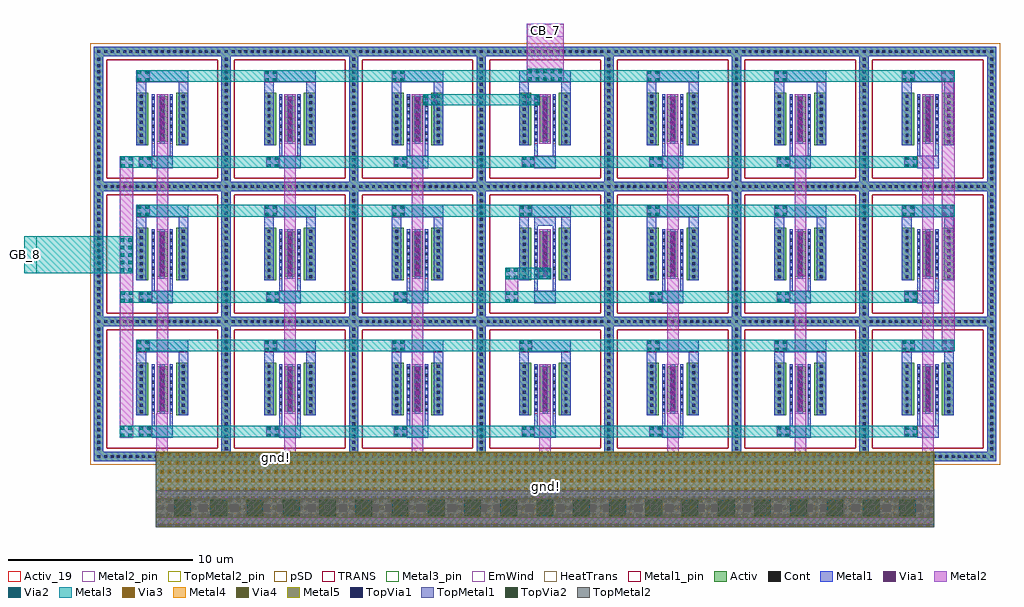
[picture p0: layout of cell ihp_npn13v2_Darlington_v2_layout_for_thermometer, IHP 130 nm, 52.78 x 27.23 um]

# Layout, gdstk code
from math import pi, radians
import gdstk
lib = gdstk.Library(unit=1e-6, precision=1e-09)
def R(c, l, rs):  # rectangles x0, y0, x1, y1
    for r in rs: c.add(gdstk.rectangle(r[:2], r[2:], *l))
def A(c, l, x, y, w, h, nx, ny, dx, dy):  # array of equal rectangles
    R(c, l, [(x+i*dx, y+j*dy, x+i*dx+w, y+j*dy+h) for i in range(nx) for j in range(ny)])
def P(c, l, *ps):  # polygons
    for p in ps: c.add(gdstk.Polygon(p, *l))
Activ = (1, 0)
Activ_19 = (1, 19)
Cont = (6, 0)
Metal1 = (8, 0)
Metal1_pin = (8, 2)
Metal2 = (10, 0)
Metal2_pin = (10, 2)
pSD = (14, 0)
Via1 = (19, 0)
TRANS = (26, 0)
Via2 = (29, 0)
Metal3 = (30, 0)
Metal3_pin = (30, 2)
EmWind = (33, 0)
Via3 = (49, 0)
Metal4 = (50, 0)
HeatTrans = (51, 0)
Via4 = (66, 0)
Metal5 = (67, 0)
TopVia1 = (125, 0)
TopMetal1 = (126, 0)
TopVia2 = (133, 0)
TopMetal2 = (134, 0)
TopMetal2_pin = (134, 2)

npn13v2_cdns_72071683367 = lib.new_cell('npn13v2_CDNS_720716833670')
R(npn13v2_cdns_72071683367, Activ, [(-1.4,-1.42,-0.75,1.42), (0.75,-1.42,1.4,1.42), (-0.29,-1.23,0.29,1.23)])
P(npn13v2_cdns_72071683367, Activ, [(3.7,3.9),(3.2,3.9),(3.2,-3.4),(-3.2,-3.4),(-3.2,3.4),(3.2,3.4),(3.2,3.9),(-3.7,3.9),(-3.7,-3.9),(3.7,-3.9)])
R(npn13v2_cdns_72071683367, Activ_19, [(-0.575,-1.35,-0.405,1.35), (-0.14,-1.35,0.14,1.35), (0.405,-1.35,0.575,1.35)])
A(npn13v2_cdns_72071683367, Cont, -1.21, -1.305, 0.16, 0.16, 1, 8, 0, 0.35)
A(npn13v2_cdns_72071683367, Cont, 1.05, -1.305, 0.16, 0.16, 1, 8, 0, 0.35)
A(npn13v2_cdns_72071683367, Cont, -0.57, -0.84, 0.16, 0.16, 1, 3, 0, 0.38)
A(npn13v2_cdns_72071683367, Cont, 0.41, -0.84, 0.16, 0.16, 1, 3, 0, 0.38)
A(npn13v2_cdns_72071683367, Cont, -0.57, 0.295, 0.16, 0.16, 1, 3, 0, 0.38)
A(npn13v2_cdns_72071683367, Cont, 0.41, 0.295, 0.16, 0.16, 1, 3, 0, 0.38)
R(npn13v2_cdns_72071683367, Cont, [(-0.57,-1.215,-0.41,-1.055), (0.41,-1.215,0.57,-1.055), (-0.08,-1.06,0.08,1.06)])
R(npn13v2_cdns_72071683367, Metal1, [(-0.14,-1.35,0.14,1.35)])
P(npn13v2_cdns_72071683367, Metal1, [(0.575,1.35),(0.405,1.35),(0.405,-2),(-0.405,-2),(-0.405,1.35),(-0.575,1.35),(-0.575,-2.65),(0.575,-2.65)],
  [(1.4,2.65),(-1.4,2.65),(-1.4,-1.42),(-0.88,-1.42),(-0.88,2),(0.88,2),(0.88,-1.42),(1.4,-1.42)])
R(npn13v2_cdns_72071683367, Metal1_pin, [(-0.575,-2.65,0.575,-2), (-1.4,2,1.4,2.65)])
R(npn13v2_cdns_72071683367, Metal2, [(-0.31,-1.35,0.31,1.35)])
R(npn13v2_cdns_72071683367, Metal2_pin, [(-0.31,-1.35,0.31,1.35)])
P(npn13v2_cdns_72071683367, pSD, [(-3.9,-4.1),(3.9,-4.1),(3.9,4.1),(-3.9,4.1),(-3.9,-3.2),(-3,-3.2),(-3,3.2),(3,3.2),(3,-3.2),(-3.9,-3.2)])
A(npn13v2_cdns_72071683367, Via1, -0.095, 0.125, 0.19, 0.19, 1, 3, 0, 0.45)
R(npn13v2_cdns_72071683367, Via1, [(-0.095,-1.215,0.095,-1.025), (-0.095,-0.77,0.095,-0.58), (-0.095,-0.32,0.095,-0.13)])
R(npn13v2_cdns_72071683367, TRANS, [(-3,-3.2,3,3.2)])
R(npn13v2_cdns_72071683367, EmWind, [(-0.09,-1,0.09,1)])
R(npn13v2_cdns_72071683367, HeatTrans, [(-0.14,-1.05,0.14,1.05)])
npn13v2_cdns_72071683367.add(gdstk.Label('npn13v2', (0,0), layer=51, texttype=0))
npn13v2_cdns_72071683367.add(gdstk.Label('Ae=0.36um2', (2.25,0), layer=63, texttype=0))
npn13v2_cdns_72071683367.add(gdstk.Label('npn13v2', (-2.25,0), layer=63, texttype=0))
npn13v2_cdns_72071683367.add(gdstk.Label('B', (0,-2.325), layer=63, texttype=0))
npn13v2_cdns_72071683367.add(gdstk.Label('C', (0,2.325), layer=63, texttype=0))
npn13v2_cdns_72071683367.add(gdstk.Label('E', (0,0), layer=63, texttype=0))

m1_activ_cdns_7207168336 = lib.new_cell('M1_Activ_CDNS_7207168336710')
R(m1_activ_cdns_7207168336, Activ, [(-0.25,-0.25,0.25,0.25)])
R(m1_activ_cdns_7207168336, Cont, [(-0.08,-0.08,0.08,0.08)])
R(m1_activ_cdns_7207168336, Metal1, [(-0.25,-0.25,0.25,0.25)])

c_m1_activ_cdns_7207168336 = lib.new_cell('M1_Activ_CDNS_7207168336711')
R(c_m1_activ_cdns_7207168336, Activ, [(-3.2,-0.25,3.2,0.25)])
A(c_m1_activ_cdns_7207168336, Cont, -3.14, -0.08, 0.16, 0.16, 19, 1, 0.34, 0)
R(c_m1_activ_cdns_7207168336, Metal1, [(-3.2,-0.25,3.2,0.25)])

c_m1_activ_cdns_7207168336_ = lib.new_cell('M1_Activ_CDNS_7207168336712')
R(c_m1_activ_cdns_7207168336_, Activ, [(-0.25,-3.4,0.25,3.4)])
A(c_m1_activ_cdns_7207168336_, Cont, -0.08, -3.31, 0.16, 0.16, 1, 20, 0, 0.34)
R(c_m1_activ_cdns_7207168336_, Metal1, [(-0.25,-3.4,0.25,3.4)])

ihp_npn13v2_for_layout_s = lib.new_cell('ihp_npn13v2_for_layout_sample')
P(ihp_npn13v2_for_layout_s, Metal1, [(7.6,8),(7.1,8),(7.1,0.7),(0.7,0.7),(0.7,7.5),(7.1,7.5),(7.1,8),(0.2,8),(0.2,0.2),(7.6,0.2)])
R(ihp_npn13v2_for_layout_s, Metal1_pin, [(7.27,0.37,7.43,0.53), (3.33,1.45,4.47,2.1), (3.84,4.04,4,4.2), (3.82,6.34,3.98,6.5)])
ihp_npn13v2_for_layout_s.add(gdstk.Reference(npn13v2_cdns_72071683367, (3.9,4.1)))
ihp_npn13v2_for_layout_s.add(gdstk.Reference(m1_activ_cdns_7207168336, (0.45,7.75)))
ihp_npn13v2_for_layout_s.add(gdstk.Reference(m1_activ_cdns_7207168336, (7.35,7.75)))
ihp_npn13v2_for_layout_s.add(gdstk.Reference(m1_activ_cdns_7207168336, (0.45,0.45)))
ihp_npn13v2_for_layout_s.add(gdstk.Reference(m1_activ_cdns_7207168336, (7.35,0.45)))
ihp_npn13v2_for_layout_s.add(gdstk.Reference(c_m1_activ_cdns_7207168336, (3.9,0.45)))
ihp_npn13v2_for_layout_s.add(gdstk.Reference(c_m1_activ_cdns_7207168336, (3.9,7.75)))
ihp_npn13v2_for_layout_s.add(gdstk.Reference(c_m1_activ_cdns_7207168336_, (0.45,4.1)))
ihp_npn13v2_for_layout_s.add(gdstk.Reference(c_m1_activ_cdns_7207168336_, (7.35,4.1)))
ihp_npn13v2_for_layout_s.add(gdstk.Label('gnd!', (7.35,0.45), layer=8, texttype=25))
ihp_npn13v2_for_layout_s.add(gdstk.Label('E', (3.92,4.12), layer=8, texttype=25))
ihp_npn13v2_for_layout_s.add(gdstk.Label('B', (3.9,1.78), layer=8, texttype=25))
ihp_npn13v2_for_layout_s.add(gdstk.Label('C', (3.9,6.42), layer=8, texttype=25))

m2_m1_cdns_720716833670 = lib.new_cell('M2_M1_CDNS_720716833670')
R(m2_m1_cdns_720716833670, Metal1, [(-0.35,-0.31,0.35,0.31)])
R(m2_m1_cdns_720716833670, Metal2, [(-0.35,-0.305,0.35,0.305)])
R(m2_m1_cdns_720716833670, Via1, [(-0.3,-0.3,-0.11,-0.11), (0.11,-0.3,0.3,-0.11), (-0.3,0.11,-0.11,0.3), (0.11,0.11,0.3,0.3)])

m3_m2_cdns_720716833671 = lib.new_cell('M3_M2_CDNS_720716833671')
R(m3_m2_cdns_720716833671, Metal2, [(-0.35,-0.305,0.35,0.305)])
R(m3_m2_cdns_720716833671, Via2, [(-0.3,-0.3,-0.11,-0.11), (0.11,-0.3,0.3,-0.11), (-0.3,0.11,-0.11,0.3), (0.11,0.11,0.3,0.3)])
R(m3_m2_cdns_720716833671, Metal3, [(-0.35,-0.305,0.35,0.305)])

m3_m2_cdns_720716833672 = lib.new_cell('M3_M2_CDNS_720716833672')
R(m3_m2_cdns_720716833672, Metal2, [(-0.35,-0.92,0.35,0.92)])
A(m3_m2_cdns_720716833672, Via2, -0.3, -0.915, 0.19, 0.19, 1, 5, 0, 0.41)
A(m3_m2_cdns_720716833672, Via2, 0.11, -0.915, 0.19, 0.19, 1, 5, 0, 0.41)
R(m3_m2_cdns_720716833672, Metal3, [(-0.35,-0.92,0.35,0.92)])

m2_m1_cdns_720716833673 = lib.new_cell('M2_M1_CDNS_720716833673')
R(m2_m1_cdns_720716833673, Metal1, [(-0.35,-0.925,0.35,0.925)])
R(m2_m1_cdns_720716833673, Metal2, [(-0.35,-0.92,0.35,0.92)])
A(m2_m1_cdns_720716833673, Via1, -0.3, -0.915, 0.19, 0.19, 1, 5, 0, 0.41)
A(m2_m1_cdns_720716833673, Via1, 0.11, -0.915, 0.19, 0.19, 1, 5, 0, 0.41)

tm2_tm1_cdns_72071683367 = lib.new_cell('TM2_TM1_CDNS_720716833674')
R(tm2_tm1_cdns_72071683367, TopMetal1, [(-21.04,-0.95,21.04,0.95)])
A(tm2_tm1_cdns_72071683367, TopVia2, -20.05, -0.45, 0.9, 0.9, 21, 1, 1.96, 0)
R(tm2_tm1_cdns_72071683367, TopMetal2, [(-21.04,-1,21.04,1)])

m3_m2_cdns_720716833675 = lib.new_cell('M3_M2_CDNS_720716833675')
R(m3_m2_cdns_720716833675, Metal2, [(-21.04,-2.045,21.04,2.045)])
A(m3_m2_cdns_720716833675, Via2, -20.8, -2.015, 0.19, 0.19, 102, 9, 0.41, 0.48)
R(m3_m2_cdns_720716833675, Metal3, [(-21.04,-2.045,21.04,2.045)])

m2_m1_cdns_720716833676 = lib.new_cell('M2_M1_CDNS_720716833676')
R(m2_m1_cdns_720716833676, Metal1, [(-21.04,-2.045,21.04,2.045)])
R(m2_m1_cdns_720716833676, Metal2, [(-21.04,-2.045,21.04,2.045)])
A(m2_m1_cdns_720716833676, Via1, -20.8, -2.015, 0.19, 0.19, 102, 9, 0.41, 0.48)

m4_m3_cdns_720716833677 = lib.new_cell('M4_M3_CDNS_720716833677')
R(m4_m3_cdns_720716833677, Metal3, [(-21.04,-2.045,21.04,2.045)])
A(m4_m3_cdns_720716833677, Via3, -20.8, -2.015, 0.19, 0.19, 102, 9, 0.41, 0.48)
R(m4_m3_cdns_720716833677, Metal4, [(-21.04,-2.045,21.04,2.045)])

tm1_m5_cdns_720716833678 = lib.new_cell('TM1_M5_CDNS_720716833678')
R(tm1_m5_cdns_720716833678, Metal5, [(-21.04,-0.52,21.04,0.52)])
A(tm1_m5_cdns_720716833678, TopVia1, -20.37, -0.21, 0.42, 0.42, 49, 1, 0.84, 0)
R(tm1_m5_cdns_720716833678, TopMetal1, [(-21.04,-0.95,21.04,0.95)])

m5_m4_cdns_720716833679 = lib.new_cell('M5_M4_CDNS_720716833679')
R(m5_m4_cdns_720716833679, Metal4, [(-21.04,-0.52,21.04,0.52)])
A(m5_m4_cdns_720716833679, Via4, -20.975, -0.505, 0.19, 0.19, 88, 3, 0.48, 0.41)
R(m5_m4_cdns_720716833679, Metal5, [(-21.04,-0.52,21.04,0.52)])

ihp_npn13v2_darlington_v = lib.new_cell('ihp_npn13v2_Darlington_v2_layout_for_thermometer')
R(ihp_npn13v2_darlington_v, Metal1, [(7.18,-1.09,49.25,2.99), (27.65,15.04,27.82,15.69), (28.63,15.04,28.8,15.69), (27.82,15.23,28.63,15.69)])
R(ihp_npn13v2_darlington_v, Metal1_pin, [(13.63,2.59,13.79,2.75)])
R(ihp_npn13v2_darlington_v, Metal2, [(14.12,-1.09,14.74,5.04), (27.92,-1.09,28.54,5.04), (34.82,-1.09,35.44,1.88), (41.715,-1.09,42.335,5.04), (7.21,-1.07,7.83,1.88), (21.02,-1.07,21.64,5.04), (48.615,0.16,49.235,5.04), (7.21,1.88,7.83,5.04), (34.82,1.88,35.44,5.04), (5.235,3.765,5.94,18.965), (7.22,7.74,7.84,12.34), (14.12,7.74,14.74,12.34), (21.015,7.74,21.635,12.34), (34.82,7.74,35.44,12.34), (41.715,7.74,42.335,12.34), (48.615,7.74,49.235,12.34), (49.67,8.42,50.375,23.62), (7.22,15.04,7.84,19.64), (14.12,15.04,14.74,19.64), (21.015,15.04,21.635,19.64), (34.82,15.04,35.44,19.64), (41.715,15.04,42.335,19.64), (48.615,15.04,49.235,19.64), (27.23,22.99,29.23,26.145)])
R(ihp_npn13v2_darlington_v, Metal2_pin, [(27.23,25.435,29.23,26.145)])
R(ihp_npn13v2_darlington_v, Metal3, [(5.28,3.77,6.275,4.4), (6.275,3.77,48.345,4.4), (6.155,8.42,48.225,9.05), (48.225,8.42,50.375,9.045), (5.28,11.055,6.275,11.685), (6.275,11.055,48.345,11.685), (0.045,12.655,5.92,14.655), (6.155,15.715,48.225,16.345), (48.225,15.715,50.375,16.34), (5.28,18.345,6.275,18.975), (6.275,18.345,48.345,18.975), (22.335,21.73,27.215,22.34), (6.155,22.995,48.225,23.625), (48.225,22.995,50.375,23.62)])
R(ihp_npn13v2_darlington_v, Metal3_pin, [(0.05,12.655,0.74,14.655)])
R(ihp_npn13v2_darlington_v, TopMetal2, [(7.18,-1.09,49.25,2.98)])
R(ihp_npn13v2_darlington_v, TopMetal2_pin, [(7.18,-1.075,49.25,0.685)])
ihp_npn13v2_darlington_v.add(gdstk.FlexPath([(28.535,12.635),(26.065,12.635)], 0.6, ends="flush", simple_path=True, layer=30, datatype=0))  # Metal3
ihp_npn13v2_darlington_v.add(gdstk.FlexPath([(26.42,12.935),(26.42,11.05)], 0.7, ends="flush", simple_path=True, layer=10, datatype=0))  # Metal2
ihp_npn13v2_darlington_v.add(gdstk.Reference(ihp_npn13v2_for_layout_s, (38.125,9.59)))
ihp_npn13v2_darlington_v.add(gdstk.Reference(ihp_npn13v2_for_layout_s, (3.625,9.59)))
ihp_npn13v2_darlington_v.add(gdstk.Reference(ihp_npn13v2_for_layout_s, (45.025,16.89)))
ihp_npn13v2_darlington_v.add(gdstk.Reference(ihp_npn13v2_for_layout_s, (38.125,16.89)))
ihp_npn13v2_darlington_v.add(gdstk.Reference(ihp_npn13v2_for_layout_s, (31.225,16.89)))
ihp_npn13v2_darlington_v.add(gdstk.Reference(ihp_npn13v2_for_layout_s, (24.325,16.89)))
ihp_npn13v2_darlington_v.add(gdstk.Reference(ihp_npn13v2_for_layout_s, (17.425,16.89)))
ihp_npn13v2_darlington_v.add(gdstk.Reference(ihp_npn13v2_for_layout_s, (10.525,16.89)))
ihp_npn13v2_darlington_v.add(gdstk.Reference(ihp_npn13v2_for_layout_s, (3.625,16.89)))
ihp_npn13v2_darlington_v.add(gdstk.Reference(ihp_npn13v2_for_layout_s, (31.225,9.59)))
ihp_npn13v2_darlington_v.add(gdstk.Reference(ihp_npn13v2_for_layout_s, (17.425,2.29)))
ihp_npn13v2_darlington_v.add(gdstk.Reference(ihp_npn13v2_for_layout_s, (45.025,9.59)))
ihp_npn13v2_darlington_v.add(gdstk.Reference(ihp_npn13v2_for_layout_s, (17.425,9.59)))
ihp_npn13v2_darlington_v.add(gdstk.Reference(ihp_npn13v2_for_layout_s, (10.525,9.59)))
ihp_npn13v2_darlington_v.add(gdstk.Reference(ihp_npn13v2_for_layout_s, (10.525,2.29)))
ihp_npn13v2_darlington_v.add(gdstk.Reference(ihp_npn13v2_for_layout_s, (3.625,2.29)))
ihp_npn13v2_darlington_v.add(gdstk.Reference(ihp_npn13v2_for_layout_s, (45.025,2.29)))
ihp_npn13v2_darlington_v.add(gdstk.Reference(ihp_npn13v2_for_layout_s, (38.125,2.29)))
ihp_npn13v2_darlington_v.add(gdstk.Reference(ihp_npn13v2_for_layout_s, (31.225,2.29)))
ihp_npn13v2_darlington_v.add(gdstk.Reference(ihp_npn13v2_for_layout_s, (24.325,2.29)))
ihp_npn13v2_darlington_v.add(gdstk.Reference(ihp_npn13v2_for_layout_s, (24.325,9.59)))
ihp_npn13v2_darlington_v.add(gdstk.Reference(m2_m1_cdns_720716833670, (50.025,8.73)))
ihp_npn13v2_darlington_v.add(gdstk.Reference(m2_m1_cdns_720716833670, (50.025,16.025)))
ihp_npn13v2_darlington_v.add(gdstk.Reference(m2_m1_cdns_720716833670, (13.5,4.085)))
ihp_npn13v2_darlington_v.add(gdstk.Reference(m2_m1_cdns_720716833670, (20.4,4.085)))
ihp_npn13v2_darlington_v.add(gdstk.Reference(m2_m1_cdns_720716833670, (27.305,4.085)))
ihp_npn13v2_darlington_v.add(gdstk.Reference(m2_m1_cdns_720716833670, (34.2,4.085)))
ihp_npn13v2_darlington_v.add(gdstk.Reference(m2_m1_cdns_720716833670, (41.105,4.085)))
ihp_npn13v2_darlington_v.add(gdstk.Reference(m2_m1_cdns_720716833670, (6.605,4.085)))
ihp_npn13v2_darlington_v.add(gdstk.Reference(m2_m1_cdns_720716833670, (13.5,11.375)))
ihp_npn13v2_darlington_v.add(gdstk.Reference(m2_m1_cdns_720716833670, (20.4,11.375)))
ihp_npn13v2_darlington_v.add(gdstk.Reference(m2_m1_cdns_720716833670, (34.2,11.375)))
ihp_npn13v2_darlington_v.add(gdstk.Reference(m2_m1_cdns_720716833670, (41.105,11.375)))
ihp_npn13v2_darlington_v.add(gdstk.Reference(m2_m1_cdns_720716833670, (6.605,11.375)))
ihp_npn13v2_darlington_v.add(gdstk.Reference(m2_m1_cdns_720716833670, (13.5,18.665)))
ihp_npn13v2_darlington_v.add(gdstk.Reference(m2_m1_cdns_720716833670, (20.4,18.665)))
ihp_npn13v2_darlington_v.add(gdstk.Reference(m2_m1_cdns_720716833670, (27.305,18.665)))
ihp_npn13v2_darlington_v.add(gdstk.Reference(m2_m1_cdns_720716833670, (34.2,18.665)))
ihp_npn13v2_darlington_v.add(gdstk.Reference(m2_m1_cdns_720716833670, (41.105,18.665)))
ihp_npn13v2_darlington_v.add(gdstk.Reference(m2_m1_cdns_720716833670, (6.605,18.665)))
ihp_npn13v2_darlington_v.add(gdstk.Reference(m2_m1_cdns_720716833670, (13.4,8.735)))
ihp_npn13v2_darlington_v.add(gdstk.Reference(m2_m1_cdns_720716833670, (20.29,8.735)))
ihp_npn13v2_darlington_v.add(gdstk.Reference(m2_m1_cdns_720716833670, (27.185,8.735)))
ihp_npn13v2_darlington_v.add(gdstk.Reference(m2_m1_cdns_720716833670, (34.08,8.735)))
ihp_npn13v2_darlington_v.add(gdstk.Reference(m2_m1_cdns_720716833670, (40.975,8.735)))
ihp_npn13v2_darlington_v.add(gdstk.Reference(m2_m1_cdns_720716833670, (6.505,8.735)))
ihp_npn13v2_darlington_v.add(gdstk.Reference(m2_m1_cdns_720716833670, (13.4,16.025)))
ihp_npn13v2_darlington_v.add(gdstk.Reference(m2_m1_cdns_720716833670, (20.29,16.025)))
ihp_npn13v2_darlington_v.add(gdstk.Reference(m2_m1_cdns_720716833670, (27.185,16.025)))
ihp_npn13v2_darlington_v.add(gdstk.Reference(m2_m1_cdns_720716833670, (34.08,16.025)))
ihp_npn13v2_darlington_v.add(gdstk.Reference(m2_m1_cdns_720716833670, (40.975,16.025)))
ihp_npn13v2_darlington_v.add(gdstk.Reference(m2_m1_cdns_720716833670, (6.505,16.025)))
ihp_npn13v2_darlington_v.add(gdstk.Reference(m2_m1_cdns_720716833670, (50,23.315)))
ihp_npn13v2_darlington_v.add(gdstk.Reference(m2_m1_cdns_720716833670, (48.005,4.085)))
ihp_npn13v2_darlington_v.add(gdstk.Reference(m2_m1_cdns_720716833670, (47.875,8.735)))
ihp_npn13v2_darlington_v.add(gdstk.Reference(m2_m1_cdns_720716833670, (48.005,11.38)))
ihp_npn13v2_darlington_v.add(gdstk.Reference(m2_m1_cdns_720716833670, (47.875,16.03)))
ihp_npn13v2_darlington_v.add(gdstk.Reference(m2_m1_cdns_720716833670, (48.005,18.665)))
ihp_npn13v2_darlington_v.add(gdstk.Reference(m2_m1_cdns_720716833670, (6.505,23.315)))
ihp_npn13v2_darlington_v.add(gdstk.Reference(m2_m1_cdns_720716833670, (13.4,23.315)))
ihp_npn13v2_darlington_v.add(gdstk.Reference(m2_m1_cdns_720716833670, (40.975,23.315)))
ihp_npn13v2_darlington_v.add(gdstk.Reference(m2_m1_cdns_720716833670, (34.08,23.315)))
ihp_npn13v2_darlington_v.add(gdstk.Reference(m2_m1_cdns_720716833670, (20.29,23.315)))
ihp_npn13v2_darlington_v.add(gdstk.Reference(m2_m1_cdns_720716833670, (47.875,23.315)))
ihp_npn13v2_darlington_v.add(gdstk.Reference(m3_m2_cdns_720716833671, (5.58,4.085)))
ihp_npn13v2_darlington_v.add(gdstk.Reference(m3_m2_cdns_720716833671, (5.59,11.37)))
ihp_npn13v2_darlington_v.add(gdstk.Reference(m3_m2_cdns_720716833671, (5.595,18.66)))
ihp_npn13v2_darlington_v.add(gdstk.Reference(m3_m2_cdns_720716833671, (41.105,4.085)))
ihp_npn13v2_darlington_v.add(gdstk.Reference(m3_m2_cdns_720716833671, (6.605,4.085)))
ihp_npn13v2_darlington_v.add(gdstk.Reference(m3_m2_cdns_720716833671, (13.505,4.085)))
ihp_npn13v2_darlington_v.add(gdstk.Reference(m3_m2_cdns_720716833671, (20.405,4.085)))
ihp_npn13v2_darlington_v.add(gdstk.Reference(m3_m2_cdns_720716833671, (27.305,4.085)))
ihp_npn13v2_darlington_v.add(gdstk.Reference(m3_m2_cdns_720716833671, (34.205,4.085)))
ihp_npn13v2_darlington_v.add(gdstk.Reference(m3_m2_cdns_720716833671, (41.105,11.375)))
ihp_npn13v2_darlington_v.add(gdstk.Reference(m3_m2_cdns_720716833671, (6.605,11.375)))
ihp_npn13v2_darlington_v.add(gdstk.Reference(m3_m2_cdns_720716833671, (13.505,11.375)))
ihp_npn13v2_darlington_v.add(gdstk.Reference(m3_m2_cdns_720716833671, (20.405,11.375)))
ihp_npn13v2_darlington_v.add(gdstk.Reference(m3_m2_cdns_720716833671, (26.42,11.365)))
ihp_npn13v2_darlington_v.add(gdstk.Reference(m3_m2_cdns_720716833671, (34.205,11.375)))
ihp_npn13v2_darlington_v.add(gdstk.Reference(m3_m2_cdns_720716833671, (41.105,18.665)))
ihp_npn13v2_darlington_v.add(gdstk.Reference(m3_m2_cdns_720716833671, (6.605,18.665)))
ihp_npn13v2_darlington_v.add(gdstk.Reference(m3_m2_cdns_720716833671, (13.505,18.665)))
ihp_npn13v2_darlington_v.add(gdstk.Reference(m3_m2_cdns_720716833671, (20.405,18.665)))
ihp_npn13v2_darlington_v.add(gdstk.Reference(m3_m2_cdns_720716833671, (27.305,18.665)))
ihp_npn13v2_darlington_v.add(gdstk.Reference(m3_m2_cdns_720716833671, (34.205,18.665)))
ihp_npn13v2_darlington_v.add(gdstk.Reference(m3_m2_cdns_720716833671, (40.975,8.735)))
ihp_npn13v2_darlington_v.add(gdstk.Reference(m3_m2_cdns_720716833671, (6.505,8.735)))
ihp_npn13v2_darlington_v.add(gdstk.Reference(m3_m2_cdns_720716833671, (13.395,8.735)))
ihp_npn13v2_darlington_v.add(gdstk.Reference(m3_m2_cdns_720716833671, (20.295,8.735)))
ihp_npn13v2_darlington_v.add(gdstk.Reference(m3_m2_cdns_720716833671, (27.185,8.735)))
ihp_npn13v2_darlington_v.add(gdstk.Reference(m3_m2_cdns_720716833671, (34.085,8.735)))
ihp_npn13v2_darlington_v.add(gdstk.Reference(m3_m2_cdns_720716833671, (40.975,16.025)))
ihp_npn13v2_darlington_v.add(gdstk.Reference(m3_m2_cdns_720716833671, (6.505,16.025)))
ihp_npn13v2_darlington_v.add(gdstk.Reference(m3_m2_cdns_720716833671, (13.395,16.025)))
ihp_npn13v2_darlington_v.add(gdstk.Reference(m3_m2_cdns_720716833671, (20.295,16.025)))
ihp_npn13v2_darlington_v.add(gdstk.Reference(m3_m2_cdns_720716833671, (27.185,16.025)))
ihp_npn13v2_darlington_v.add(gdstk.Reference(m3_m2_cdns_720716833671, (34.085,16.025)))
ihp_npn13v2_darlington_v.add(gdstk.Reference(m3_m2_cdns_720716833671, (26.42,12.625)))
ihp_npn13v2_darlington_v.add(gdstk.Reference(m3_m2_cdns_720716833671, (27.565,22.035)))
ihp_npn13v2_darlington_v.add(gdstk.Reference(m3_m2_cdns_720716833671, (21.985,22.035)))
ihp_npn13v2_darlington_v.add(gdstk.Reference(m3_m2_cdns_720716833671, (28.205,12.625)))
ihp_npn13v2_darlington_v.add(gdstk.Reference(m3_m2_cdns_720716833671, (6.505,23.315)))
ihp_npn13v2_darlington_v.add(gdstk.Reference(m3_m2_cdns_720716833671, (13.395,23.315)))
ihp_npn13v2_darlington_v.add(gdstk.Reference(m3_m2_cdns_720716833671, (20.295,23.315)))
ihp_npn13v2_darlington_v.add(gdstk.Reference(m3_m2_cdns_720716833671, (34.085,23.315)))
ihp_npn13v2_darlington_v.add(gdstk.Reference(m3_m2_cdns_720716833671, (48.005,4.085)))
ihp_npn13v2_darlington_v.add(gdstk.Reference(m3_m2_cdns_720716833671, (47.875,8.735)))
ihp_npn13v2_darlington_v.add(gdstk.Reference(m3_m2_cdns_720716833671, (48.005,11.38)))
ihp_npn13v2_darlington_v.add(gdstk.Reference(m3_m2_cdns_720716833671, (47.875,16.03)))
ihp_npn13v2_darlington_v.add(gdstk.Reference(m3_m2_cdns_720716833671, (48.005,18.665)))
ihp_npn13v2_darlington_v.add(gdstk.Reference(m3_m2_cdns_720716833671, (40.975,23.315)))
ihp_npn13v2_darlington_v.add(gdstk.Reference(m3_m2_cdns_720716833671, (47.875,23.315)))
ihp_npn13v2_darlington_v.add(gdstk.Reference(m3_m2_cdns_720716833672, (5.585,13.64)))
ihp_npn13v2_darlington_v.add(gdstk.Reference(m3_m2_cdns_720716833672, (28.22,23.35), rotation=pi/2))
ihp_npn13v2_darlington_v.add(gdstk.Reference(m2_m1_cdns_720716833673, (28.22,23.35), rotation=pi/2))
ihp_npn13v2_darlington_v.add(gdstk.Reference(tm2_tm1_cdns_72071683367, (28.22,-0.04)))
ihp_npn13v2_darlington_v.add(gdstk.Reference(m3_m2_cdns_720716833675, (28.22,0.955)))
ihp_npn13v2_darlington_v.add(gdstk.Reference(m2_m1_cdns_720716833676, (28.22,0.955)))
ihp_npn13v2_darlington_v.add(gdstk.Reference(m4_m3_cdns_720716833677, (28.22,0.955)))
ihp_npn13v2_darlington_v.add(gdstk.Reference(tm1_m5_cdns_720716833678, (28.22,-0.04)))
ihp_npn13v2_darlington_v.add(gdstk.Reference(m5_m4_cdns_720716833679, (28.22,-0.04)))
ihp_npn13v2_darlington_v.add(gdstk.Label('gnd!', (13.71,2.67), layer=8, texttype=25))
ihp_npn13v2_darlington_v.add(gdstk.Label('GB_8', (0.125,13.675), layer=30, texttype=25))
ihp_npn13v2_darlington_v.add(gdstk.Label('CB_7', (28.235,25.775), layer=10, texttype=25))
ihp_npn13v2_darlington_v.add(gdstk.Label('gnd!', (28.31,1.105), layer=134, texttype=25))

lib.write_gds('ihp_npn13v2_Darlington_v2_layout_for_thermometer.gds')
